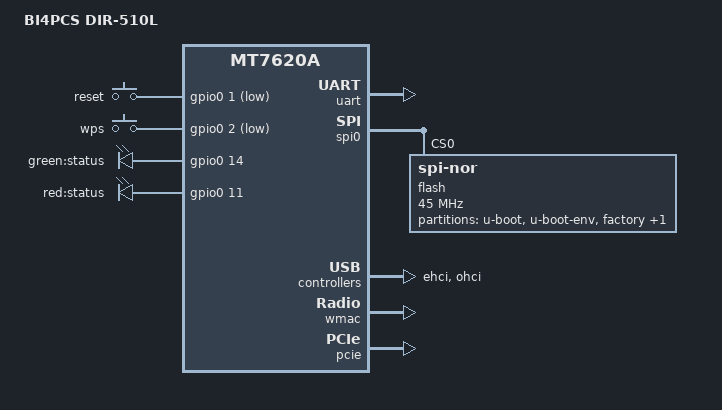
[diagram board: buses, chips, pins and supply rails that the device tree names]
// SPDX-License-Identifier: GPL-2.0-or-later OR MIT

#include "mt7620a.dtsi"

#include <dt-bindings/input/input.h>
#include <dt-bindings/gpio/gpio.h>

/ {
	compatible = "dlink,dir-510l", "ralink,mt7620a-soc";
	model = "BI4PCS DIR-510L";

	aliases {
		led-boot = &led_status;
		led-failsafe = &led_status;
		led-running = &led_status;
		led-upgrade = &led_status;
	};

	chosen {
		bootargs = "console=ttyS0,57600";
	};

	keys {
		compatible = "gpio-keys";

		reset {
			label = "reset";
			gpios = <&gpio0 1 GPIO_ACTIVE_LOW>;
			linux,code = <KEY_RESTART>;
		};

		wps {
			label = "wps";
			gpios = <&gpio0 2 GPIO_ACTIVE_LOW>;
			linux,code = <KEY_WPS_BUTTON>;
		};
	};

	leds {
		compatible = "gpio-leds";

		led_status: status {
			label = "green:status";
			gpios = <&gpio0 14 GPIO_ACTIVE_HIGH>;
		};

		status-red {
			label = "red:status";
			gpios = <&gpio0 11 GPIO_ACTIVE_HIGH>;
		};
	};
};

&ethernet {
	mtd-mac-address = <&factory 0x4>;

	mediatek,portmap = "wllll";
};

&uart {
	status = "okay";
};

&spi0 {
	status = "okay";

	flash@0 {
		compatible = "jedec,spi-nor";
		reg = <0>;
		spi-max-frequency = <45000000>;
		broken-flash-reset;

		partitions {
			compatible = "fixed-partitions";
			#address-cells = <1>;
			#size-cells = <1>;

			partition@0 {
				label = "u-boot";
				reg = <0x0 0x30000>;
				read-only;
			};

			partition@30000 {
				label = "u-boot-env";
				reg = <0x30000 0x10000>;
				read-only;
			};

			factory: partition@40000 {
				label = "factory";
				reg = <0x40000 0x10000>;
				read-only;
			};

			partition@50000 {
				compatible = "denx,uimage";
				label = "firmware";
				reg = <0x50000 0x1fb0000>;
			};
		};
	};
};

&ehci {
	status = "okay";
};

&ohci {
	status = "okay";
};

&wmac {
	ralink,mtd-eeprom = <&factory 0x0>;
};

&pcie {
	status = "okay";
};

&pcie0 {
	mt76@0,0 {
		reg = <0x0000 0 0 0 0>;
		mediatek,mtd-eeprom = <&factory 0x8000>;
		ieee80211-freq-limit = <5000000 6000000>;
	};
};

&state_default {
	default {
		groups = "i2c", "uartf";
		function = "gpio";
	};
};
